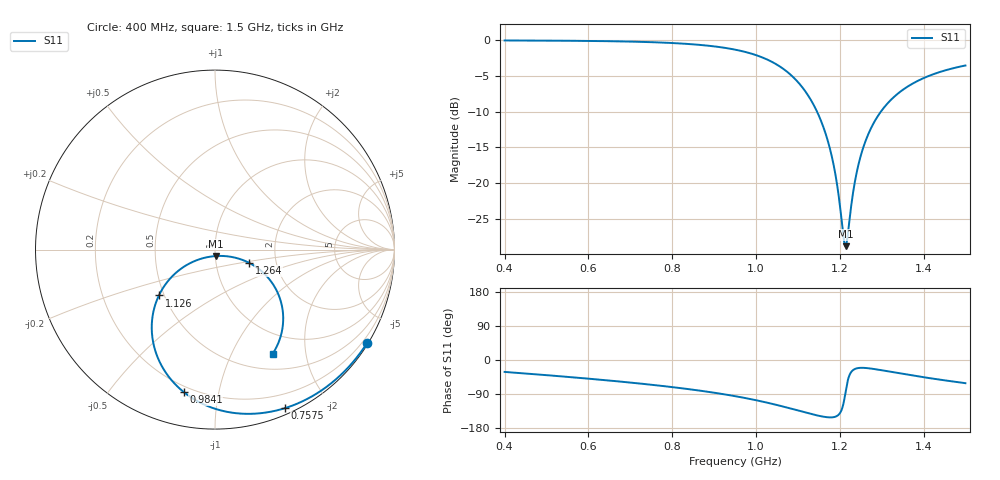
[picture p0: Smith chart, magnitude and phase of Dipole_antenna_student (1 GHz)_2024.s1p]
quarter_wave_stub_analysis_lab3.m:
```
%==================================================================
% Script:    process_s1p_data.m
% Purpose:   Import S-parameter data from CST (.s1p file),
%            plot S11 vs. frequency in dB, and show a Smith chart.
% Author:    [Your Name], Lab 3
%==================================================================

clear; clc; close all;

% === 1. LOAD THE TOUCHSTONE FILE ===
filename = 'Dipole_antenna_student (1 GHz)_2024.s1p'; % <-- Change if needed
sData = sparameters(filename);  % Requires RF Toolbox

% === 2. EXTRACT FREQUENCIES AND S11 ===
freq_Hz = sData.Frequencies;    % Frequencies in Hz
S11     = squeeze(sData.Parameters(1,1,:));  % S11 as a function of frequency

% === 3. CONVERT |S11| TO DECIBELS FOR RETURN LOSS PLOT ===
S11_dB = 20*log10(abs(S11));

% === 4. PLOT RETURN LOSS ===
figure('Name','Return Loss');
plot(freq_Hz/1e9, S11_dB, 'LineWidth',1.5);
grid on; xlabel('Frequency (GHz)'); ylabel('|S_{11}| (dB)');
title('Dipole Antenna Return Loss (from .s1p)');

% OPTIONAL: Find the resonant frequency (where S11 is minimal)
[S11_min_dB, idxMin] = min(S11_dB);
f_resonant = freq_Hz(idxMin)/1e9;
disp(['Resonant Frequency = ', num2str(f_resonant, '%.3f'), ' GHz,  S11 = ', ...
      num2str(S11_min_dB, '%.2f'), ' dB']);

% === 5. SMITH CHART PLOT ===
figure('Name','Smith Chart');
smithplot(sData);
title('Smith Chart of S11');
```
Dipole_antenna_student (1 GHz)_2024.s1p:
! TOUCHSTONE file generated by CST MICROWAVE STUDIO
! Date and time: Mon Mar 17 13:33:34 2025
! Project name: Dipole_antenna_student (1 GHz)_2024.cst
! Parameters = {dipole_length=93.7}
! Header version: 2024
! Port assignment regex: !\s*Touchstone port\s*([0-9]+)\s*=\s*(CST MWS port|CST DES external port|CST DES block port)\s*(.+)\s* \(\"(.*)\"\)(\s*mode\s*([0-9]+))?.*
! Touchstone port assignment:
! Touchstone port 1 = CST MWS port 1 ("")
# GHz S MA R 50
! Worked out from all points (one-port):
!   1011 points, 400 MHz to 1.5 GHz, reference 50 ohm
!   lowest |S11| = -28.8 dB at 1.214 GHz (marker M1), VSWR 1.08, Z = 50.2 - j3.62 ohm
!   |S11| at or under -10 dB: 1.146 GHz to 1.298 GHz (152.6 MHz wide, 12.5 % of centre)
!   S11 on the Smith chart (normalised r, x): 400 MHz: 0.04, -3.56; 757.5 MHz: 0.06, -1.53; 984.1 MHz: 0.17, -0.79; 1.126 GHz: 0.47, -0.29; 1.264 GHz: 1.45, -0.22; 1.5 GHz: 0.70, -1.45
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0.4  0.9942 -31.4
0.7575  0.9656 -66.2
0.7674  0.9632 -67.4
0.8906  0.9107 -84.7
0.9841  0.812 -102.5
1.0644  0.6319 -122.7
1.126  0.4036 -140.7
1.1337  0.3701 -142.9
1.1788  0.164 -151.5
1.214  0.03616 -84.0
1.2393  0.1139 -22.4
1.2635  0.2034 -21.2
1.3471  0.4411 -36.0
1.5  0.6642 -61.2
